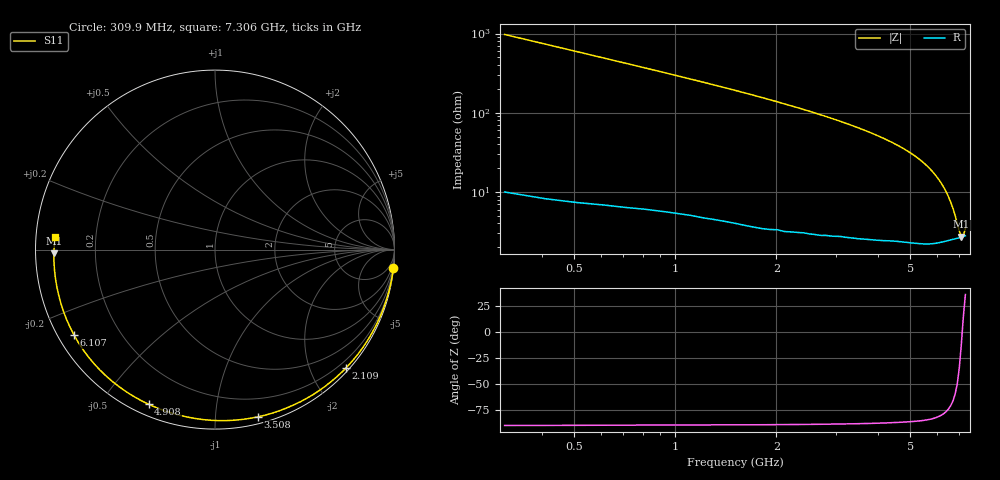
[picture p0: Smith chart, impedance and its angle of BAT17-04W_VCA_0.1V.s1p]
! Infineon Technologies  Discrete & RF Semiconductors
! BAT17-04W
! VCA = 0.1 V
! One-Port S-Parameters
# Hz  S  MA  R  50
!f  S11
!Hz  Mag  Ang
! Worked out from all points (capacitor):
!   71 points, 309.9 MHz to 7.306 GHz, reference 50 ohm
!   read as one part to ground: C = 526 fF near 309.9 MHz
!   lowest |Z| = 2.73 ohm at 7.106 GHz (marker M1)
!   series resonance near 7.15 GHz, so ESL is about 940 pH
!   S11 on the Smith chart (normalised r, x): 309.9 MHz: 0, -19; 2.109 GHz: 0.06, -2.59; 3.508 GHz: 0.05, -1.29; 4.908 GHz: 0.05, -0.66; 6.107 GHz: 0.05, -0.28; 7.306 GHz: 0.06, +0.04
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3.0985e8  0.999 -5.9
7.0965e8  0.9965 -13.5
9.0955e8  0.9948 -17.3
1.2094e9  0.9924 -23.2
1.50925e9  0.9898 -29.3
1.70915e9  0.9881 -33.5
2.10895e9  0.9837 -42.2
2.50875e9  0.9782 -51.2
2.70865e9  0.9755 -55.9
3.0085e9  0.9703 -63.1
3.2084e9  0.967 -68.1
3.50825e9  0.9621 -75.6
3.8081e9  0.9567 -83.4
4.008e9  0.9532 -88.6
4.2079e9  0.9494 -94.0
4.50775e9  0.9438 -102.1
4.70765e9  0.9406 -107.6
4.90755e9  0.9377 -113.2
5.2074e9  0.9337 -121.8
5.4073e9  0.931 -127.7
5.6072e9  0.928 -133.7
5.90705e9  0.9227 -142.8
6.10695e9  0.9184 -148.9
6.30685e9  0.9138 -155.0
6.50675e9  0.9093 -161.0
6.8066e9  0.9031 -169.9
7.10645e9  0.8984 -178.7
7.30635e9  0.8942 175.4
